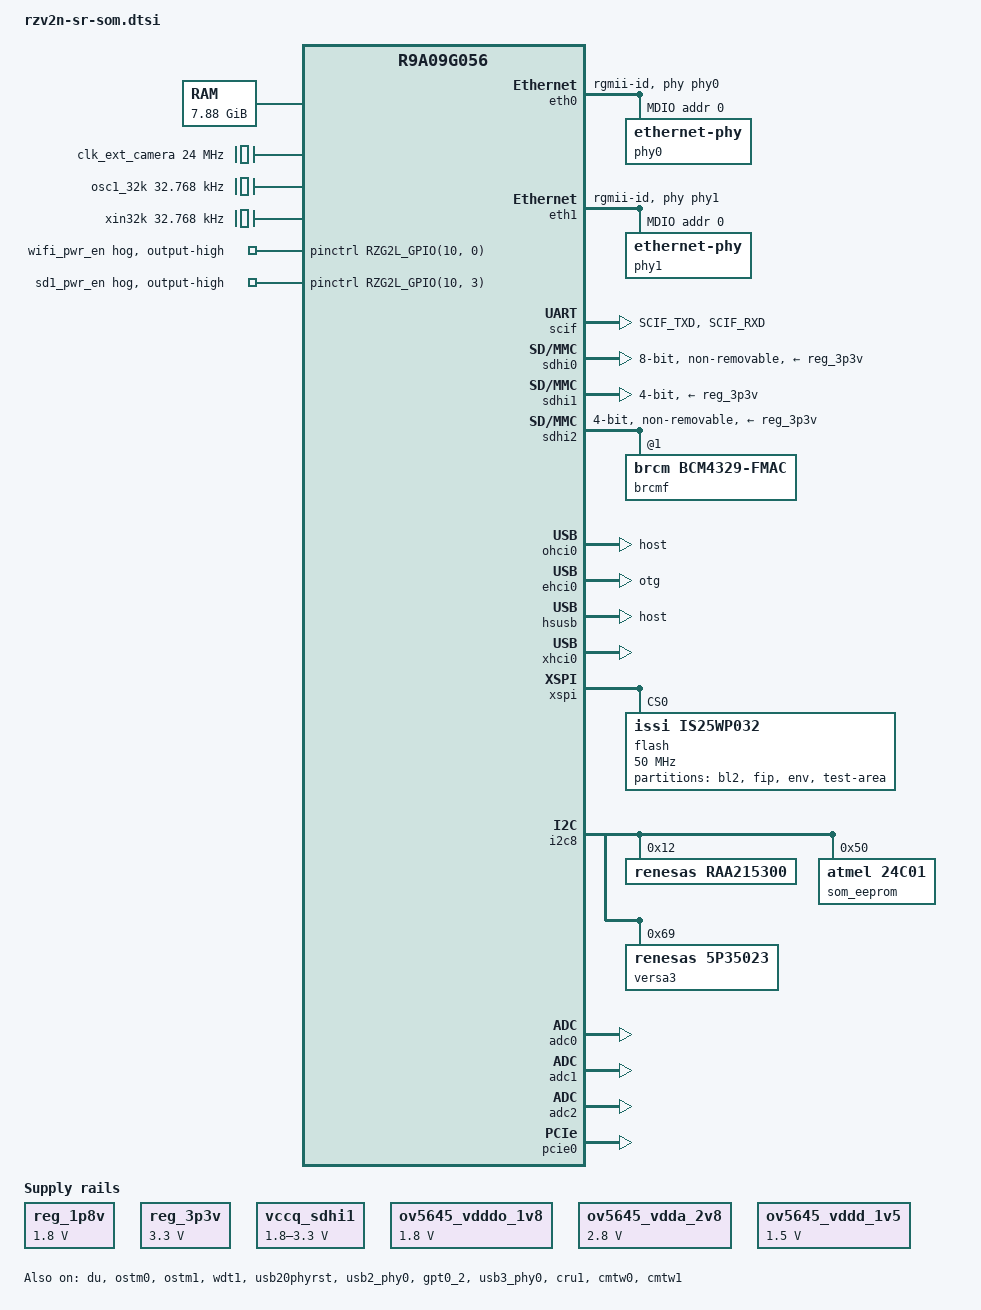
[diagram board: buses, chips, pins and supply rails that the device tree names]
// SPDX-License-Identifier: (GPL-2.0-only OR BSD-2-Clause)
/*
* Device Tree Source for the RZ/V2N Solidrun SOM
*
* Copyright (C) 2025 SolidRun Ltd.
*/

/dts-v1/;
#include "r9a09g056.dtsi"
#include <dt-bindings/net/mxl-8611x.h>
#include <dt-bindings/pinctrl/rzg2l-pinctrl.h>
#include <dt-bindings/gpio/gpio.h>
#include <dt-bindings/input/input.h>
#include <dt-bindings/interrupt-controller/arm-gic.h>
#include <dt-bindings/thermal/thermal.h>

/ {
	aliases {
		i2c0 = &i2c0;
		i2c1 = &i2c1;
		i2c2 = &i2c2;
		i2c8 = &i2c8;
		serial0 = &scif;
		serial1 = &sci0;
		serial2 = &sci2;
		serial3 = &sci3;
		mmc0 = &sdhi0;
		mmc1 = &sdhi1;
		mmc2 = &sdhi2;
		ethernet0 = &eth0;
		ethernet1 = &eth1;
	};

	chosen {
		bootargs = "ignore_loglevel";
		stdout-path = "serial0:115200n8";
	};

	memory@48000000 {
		device_type = "memory";
		/* first 128MB is reserved for secure area. */
		reg = <0x0 0x48000000 0x1 0xF8000000>;
	};

	reserved-memory {
		#address-cells = <2>;
		#size-cells = <2>;
		ranges;

		global_cma: linux,cma@58000000 {
			compatible = "shared-dma-pool";
			linux,cma-default;
			reusable;
			reg = <0x0 0x58000000 0x0 0x28000000>;
		};

		mmp_reserved: linux,multimedia {
			compatible = "shared-dma-pool";
			reusable;
			reg = <0x00000000 0x80000000 0x0 0x10000000>;
		};

		isp_reserved: frame_buffer@90000000 {
			compatible = "shared-dma-pool";
			reusable;
			reg = <0x0 0x90000000 0x0 0x18000000>;
		};

		opencva_reserved: OpenCVA@A8000000 {
			reusable;
			reg = <0x0 0xA8000000 0x0 0x7CFF000>;
		};

		shared_drp_reserved: SharedDRP@AFCFF000 {
			reusable;
			reg = <0x0 0xAFCFF000 0x0 0x00001000>;
		};

		drp_codec: DRP-Codec@AFD00000 {
			reusable;
			reg = <0x0 0xAFD00000 0x0 0x300000>;
		};

		image_buf0: image_buf@B0000000 {
			compatible = "shared-dma-pool";
			reusable;
			reg = <0x0 0xB0000000 0x0 0x4000000>;
			label = "image_buf0";
		};

		cru_func: cru_buffer@B4000000 {
			compatible = "shared-dma-pool";
			reusable;
			reg = <0x0 0xB4000000 0x0 0x16400000>;
		};

		drp_reserved: DRP-AI@D0000000 {
			reusable;
			reg = <0x0 0xD0000000 0x0 0x20000000>;
		};
	};

	mmngr {
		compatible = "renesas,mmngr";
		memory-region = <&mmp_reserved>;
	};

	mmngrbuf {
		compatible = "renesas,mmngrbuf";
	};

	vspm_if {
		compatible = "renesas,vspm_if";
	};

	x1_clk: x1-clock {
			compatible = "fixed-clock";
			#clock-cells = <0>;
			clock-frequency = <24000000>;
	};

	reg_1p8v: regulator0 {
		compatible = "regulator-fixed";

		regulator-name = "fixed-1.8V";
		regulator-min-microvolt = <1800000>;
		regulator-max-microvolt = <1800000>;
		regulator-boot-on;
		regulator-always-on;
	};

	reg_3p3v: regulator1 {
		compatible = "regulator-fixed";

		regulator-name = "fixed-3.3V";
		regulator-min-microvolt = <3300000>;
		regulator-max-microvolt = <3300000>;
		regulator-boot-on;
		regulator-always-on;
	};

	vccq_sdhi1: regulator-vccq-sdhi1 {
		compatible = "regulator-gpio";
		regulator-name = "SDHI1 VccQ";
		regulator-min-microvolt = <1800000>;
		regulator-max-microvolt = <3300000>;
		gpios = <&pinctrl RZG2L_GPIO(10, 2) GPIO_ACTIVE_HIGH>;
		gpios-states = <1>;
		states = <3300000 0 1800000 1>;
	};

	clk_ext_camera: clk_ext_camera {
		compatible = "fixed-clock";
		#clock-cells = <0>;
		clock-frequency = <24000000>;
	};

	ov5645_vdddo_1v8: 1p8v {
		compatible = "regulator-fixed";
		regulator-name = "camera_vdddo";
		regulator-min-microvolt = <1800000>;
		regulator-max-microvolt = <1800000>;
		regulator-always-on;
	};

	ov5645_vdda_2v8: 2p8v {
		compatible = "regulator-fixed";
		regulator-name = "camera_vdda";
		regulator-min-microvolt = <2800000>;
		regulator-max-microvolt = <2800000>;
		regulator-always-on;
	};

	ov5645_vddd_1v5: 1p5v {
		compatible = "regulator-fixed";
		regulator-name = "camera_vddd";
		regulator-min-microvolt = <1500000>;
		regulator-max-microvolt = <1500000>;
		regulator-always-on;
	};

	osc1_32k: cec-clock {
		compatible = "fixed-clock";
		#clock-cells = <0>;
		clock-frequency = <32768>; /* 32.768 kHz */
	};

	sdio_pwrseq: sdio-pwrseq {
		compatible = "mmc-pwrseq-simple";
		// reset-gpios = <&pinctrl RZG2L_GPIO(10, 0) GPIO_ACTIVE_HIGH>;
        /* TODO: Replace current GPIO hog with proper reset-gpios assignment
         * for the SDIO power sequence. Using the GPIO hog is temporary and
         * should be updated for proper reset control integration.
         */
	};

	/* 32.768kHz crystal */
	xin32k: xin32k-clock {
		compatible = "fixed-clock";
		#clock-cells = <0>;
		clock-frequency = <32768>;
	};
};

&du {
	status = "okay";
};

&eth0 {
	phy-handle = <&phy0>;
	phy-mode = "rgmii-id";
	status = "okay";

	mdio {
		#address-cells = <1>;
		#size-cells = <0>;
		phy0: ethernet-phy@0 {
			reg = <0>;
			mxl-8611x,led0_cfg = <(
			MXL8611X_LEDX_CFG_LINK_UP_TX_ACT_ON |
			MXL8611X_LEDX_CFG_LINK_UP_RX_ACT_ON |
			MXL8611X_LEDX_CFG_LINK_UP_1GB_ON |
			MXL8611X_LEDX_CFG_LINK_UP_100MB_ON |
			MXL8611X_LEDX_CFG_LINK_UP_10MB_ON
			)>;
			mxl-8611x,rx-internal-delay-ps = <0>;
			mxl-8611x,tx-internal-delay-ps-100m = <2250>;
			mxl-8611x,tx-internal-delay-ps-1g = <300>;
		};
	};
};

&eth1 {
	phy-handle = <&phy1>;
	phy-mode = "rgmii-id";
	status = "okay";

	mdio {
		#address-cells = <1>;
		#size-cells = <0>;
		phy1: ethernet-phy@0 {
			reg = <0>;
			mxl-8611x,led0_cfg = <(
			MXL8611X_LEDX_CFG_LINK_UP_TX_ACT_ON |
			MXL8611X_LEDX_CFG_LINK_UP_RX_ACT_ON |
			MXL8611X_LEDX_CFG_LINK_UP_1GB_ON |
			MXL8611X_LEDX_CFG_LINK_UP_100MB_ON |
			MXL8611X_LEDX_CFG_LINK_UP_10MB_ON
			)>;
			mxl-8611x,rx-internal-delay-ps = <0>;
			mxl-8611x,tx-internal-delay-ps-100m = <2250>;
			mxl-8611x,tx-internal-delay-ps-1g = <300>;
		};
	};
};

&audio_clka {
	clock-frequency = <22579200>;
};

&audio_clkb {
	clock-frequency = <24576000>;
};

&audio_clkc {
	clock-frequency = <22579200>;
};

&pinctrl {
	scif0_pins: scif0 {
		pins =  "SCIF_TXD", "SCIF_RXD";
		renesas,output-impedance = <1>;
	};

#if 0
	bt_reg_en {
		gpio-hog;
		gpios = <RZG2L_GPIO(10, 1) GPIO_ACTIVE_HIGH>;
		output-high;
		line-name = "bt_reg_on";
	};
#endif

#if 1
	wifi_pwr_en {
		gpio-hog;
		gpios = <RZG2L_GPIO(10, 0) GPIO_ACTIVE_HIGH>;
		output-high;
		line-name = "wifi_pwr_en";
	};
#endif

	sd1_pwr_en {
		gpio-hog;
		gpios = <RZG2L_GPIO(10, 3) GPIO_ACTIVE_HIGH>;
		output-high;
		line-name = "sd1_pwr_en";
	};

	/* Support pinctrl for SD function of SDHI1 */
	sdhi1_pins: sd1 {
		sd1_mux {
			pinmux = <RZG2L_PORT_PINMUX(9, 4, 14)>; /* SD1_CD */
		};
	};

	gpt0_2_pins: gpt0_2 {
		pinmux = <RZG2L_PORT_PINMUX(7, 2, 9)>, /* Channel A */
			 <RZG2L_PORT_PINMUX(7, 3, 9)>; /* Channel B */
	};

	i2c0_pins: i2c0 {
		pinmux = <RZG2L_PORT_PINMUX(3, 0, 1)>, /* I2C0_SDA */
			 <RZG2L_PORT_PINMUX(3, 1, 1)>; /* I2C0_SCL */
	};

	i2c1_pins: i2c1 {
		pinmux = <RZG2L_PORT_PINMUX(3, 2, 1)>, /* I2C1_SDA */
			 <RZG2L_PORT_PINMUX(3, 3, 1)>; /* I2C1_SCL */
	};

	i2c2_pins: i2c2 {
		pinmux = <RZG2L_PORT_PINMUX(2, 0, 4)>, /* I2C2_SDA */
			 <RZG2L_PORT_PINMUX(2, 1, 4)>; /* I2C2_SCL */
	};

	i2c8_pins: i2c8 {
			pinmux = <RZG2L_PORT_PINMUX(0, 6, 1)>, /* I2C8_SDA */
					<RZG2L_PORT_PINMUX(0, 7, 1)>; /* I2C8_SCL */
	};

	sci0_pins: sci0 {
			pinmux = <RZG2L_PORT_PINMUX(5, 0, 1)>, /* UART0_TXD: SCI0_TXD_MOSI_SDA */
				<RZG2L_PORT_PINMUX(5, 1, 1)>; /* UART0_RXD: SCI0_RXD_MISO_SCL */
			bias-pull-up;
		};

	sci0_pins_cts_rts: sci0_cts_rtc {
		pinmux =  <RZG2L_PORT_PINMUX(5, 2, 4)>,  /* UART0_CTS: CTS0N  */
				<RZG2L_PORT_PINMUX(5, 3, 2)>; /* UART0_RTS:  SS0_CTS0N_RTS0N */
		bias-pull-up;
	};

	sci2_pins: sci2 {
		pinmux = <RZG2L_PORT_PINMUX(5, 4, 1)>, /* TXD2_MOSI2_SDA2 */
			<RZG2L_PORT_PINMUX(5, 5, 1)>; /* RXD2_MISO2_SCL2 */
		bias-pull-up;
	};

	sci2_pins_cts_rts: sci2_cts_rtc {
		pinmux =  <RZG2L_PORT_PINMUX(5, 6, 4)>,  /* UART2_CTS: CTS2N  */
				<RZG2L_PORT_PINMUX(5, 7, 2)>; /* UART2_RTS:  SS2_CTS2N_RTS2N */
		bias-pull-up;
	};

	sci3_pins: sci3 {
		pinmux = <RZG2L_PORT_PINMUX(3, 4, 2)>, /* TXD3_MOSI3_SDA3 */
			<RZG2L_PORT_PINMUX(3, 5, 2)>; /* RXD3_MISO3_SCL3 */
		bias-pull-up;
	};

	sci3_pins_cts_rts: sci3_cts_rtc {
		pinmux =  <RZG2L_PORT_PINMUX(3, 6, 4)>,  /* UART3_CTS: CTS3N  */
				<RZG2L_PORT_PINMUX(3, 7, 2)>; /* UART3_RTS:  SS3_CTS3N_RTS3N */
		bias-pull-up;
	};

	sdhi2_pins: sd2 {
		sd2_data {
			pinmux = <RZG2L_PORT_PINMUX(11, 1, 1)>, /* SD2_DATA0 */
				 <RZG2L_PORT_PINMUX(11, 2, 1)>, /* SD2_DATA1 */
				 <RZG2L_PORT_PINMUX(11, 3, 1)>, /* SD2_DATA2 */
				 <RZG2L_PORT_PINMUX(11, 4, 1)>; /* SD2_DATA3 */
		};

		sd2_ctrl {
			pinmux = <RZG2L_PORT_PINMUX(11, 0, 1)>, /* SD2_CLK */
				 <RZG2L_PORT_PINMUX(11, 5, 1)>; /* SD2_CMD */
		};
	};
};

&qextal_clk {
	clock-frequency = <24000000>;
};

&scif {
	pinctrl-0 = <&scif0_pins>;
	pinctrl-names = "default";
	status = "okay";
};

&ostm0 {
	status = "okay";
};

&ostm1 {
	status = "okay";
};

&wdt1 {
	status = "okay";
};

&sdhi0 {
	vmmc-supply = <&reg_3p3v>;
	vqmmc-supply = <&reg_1p8v>;
	bus-width = <8>;
	mmc-hs200-1_8v;
	non-removable;
	fixed-emmc-driver-type = <1>;
	status = "okay";
};

&sdhi1 {
	pinctrl-0 = <&sdhi1_pins>;
	pinctrl-names = "default";
	vmmc-supply = <&reg_3p3v>;
	vqmmc-supply = <&vccq_sdhi1>;
	bus-width = <4>;
	sd-uhs-sdr50;
	sd-uhs-sdr104;
	status = "okay";
};

/* WiFi - CYW43439 */
&sdhi2 {
	#address-cells = <1>;
	#size-cells = <0>;
	pinctrl-0 = <&sdhi2_pins>;
	pinctrl-names = "default";
	status = "okay";

	non-removable;
	vmmc-supply = <&reg_3p3v>;
	bus-width = <4>;
	mmc-pwrseq = <&sdio_pwrseq>;
	fsl,delay-line = <12>;
	keep-power-in-suspend;

	brcmf: wifi@1 {
		reg = <1>;
		compatible = "brcm,bcm4329-fmac";
	};
};

&rtc {
    status = "disabled";
};

&ohci0 {
	memory-region = <&global_cma>;
	dr_mode = "host";
	status = "okay";
};

&ehci0 {
	memory-region = <&global_cma>;
	dr_mode = "otg";
	status = "okay";
};

&hsusb {
	dr_mode = "host";
	status = "okay";
};

&usb20phyrst {
	status = "okay";
};

&usb2_phy0 {
	//pinctrl-0 = <&usb20_pins>;
	pinctrl-names = "default";
	status = "okay";
};

&gpt0_2 {
	pinctrl-0 = <&gpt0_2_pins>;
	pinctrl-names = "default";
	channel = "both_AB";
	status = "okay";
};

&usb3_phy0 {
	status = "okay";
};

&xhci0 {
	//pinctrl-0 = <&usb30_pins>; /*conflict with WiFi SD2CLK*/
	pinctrl-names = "default";
	memory-region = <&global_cma>;
	status = "okay";
};

&xspi {
	status = "okay";

	flash@0 {
		compatible = "issi,is25wp032", "jedec,spi-nor";
		reg = <0>;
		m25p,fast-read;
		spi-max-frequency = <50000000>;
		spi-tx-bus-width = <4>;
		spi-rx-bus-width = <4>;

		partitions {
			compatible = "fixed-partitions";
			#address-cells = <1>;
			#size-cells = <1>;

			partition@0 {
				label = "bl2";
				reg = <0x00000000 0x0001D200>;
				read-only;
			};

			partition@1D200 {
				label = "fip";
				reg = <0x0001D200 0x001C2E00>;
				read-only;
			};

			partition@1E0000 {
				label = "env";
				reg = <0x001E0000 0x00020000>;
				read-only;
			};

			partition@200000 {
				label = "test-area";
				reg = <0x00200000 0x00E00000>;
			};
		};
	};
};

&i2c0 {
	pinctrl-0 = <&i2c0_pins>;
	pinctrl-names = "default";
	status = "disabled";
};

&cru0 {
	status = "disabled";
};

&csi20 {
	status = "disabled";
};

&i2c1 {
	pinctrl-0 = <&i2c1_pins>;
	pinctrl-names = "default";
	status = "disabled";
};

&cru1 {
	status = "okay";
};

&csi21 {
	status = "disabled";
};

&i2c2 {
	pinctrl-0 = <&i2c2_pins>;
	pinctrl-names = "default";

	status = "disabled";
};

&i2c8 {
	pinctrl-0 = <&i2c8_pins>;
	pinctrl-names = "default";

	status = "okay";

	/* PMIC */
	raa215300: pmic@12 {
		compatible = "renesas,raa215300";
		reg = <0x12>, <0x6f>;
		reg-names = "main", "rtc";

		clocks = <&xin32k>;
		clock-names = "xin";
	};

	som_eeprom: eeprom@50 {
		compatible = "atmel,24c01";
		reg = <0x50>;
		pagesize = <8>;           /* CAT24AA01 uses 8-byte page */
		size = <128>;             /* 1 Kbit = 128 bytes */
		address-width = <8>;      /* 8-bit internal addressing */
	};

	/* Clock Generator (P.N 5L35023B-616NLGI8)*/
	versa3: versa3@69 {
			compatible = "renesas,5p35023";
			reg = <0x69>;
			#clock-cells = <1>;
			clocks = <&x1_clk>;
			clock-names = "x1";
			assigned-clocks = <&versa3 5>,
								<&versa3 4>,
								<&versa3 3>,
								<&versa3 2>,
								<&versa3 1>,
								<&versa3 0>;
			assigned-clock-rates =  <100000000>, <100000000>,
									<22579200>, <32768>,
									<24576000>, <24000000>;
			clock-divider-read-only = <1>, <1>, <1>, <1>, <1>;
			clock-flags = <2176>, <2176>, <2176>, <2052>, <2176>, <2048>;
	};
};

&adc0 {
	status = "okay";
};

&adc1 {
	status = "okay";
};

&adc2 {
	status = "okay";
};

&cmtw0 {
	status = "okay";
};

&cmtw1 {
	status = "okay";
};

&ssi4 {
	shared-pin;
};

&pcie0 {
	/* Map all possible DDR as inbound ranges */
	dma-ranges = <0x42000000 0 0x40000000 0 0x40000000 0x2 0x00000000>;
	//clocks = <&versa3 4>;      /* use DIFF1 as input */
    clock-names = "pcie_ref";
	msi-parent = <&gic>;
	status = "okay";
};

/* Bluetooth node */
&sci0 {
	pinctrl-0 = <&sci0_pins &sci0_pins_cts_rts>;
	pinctrl-names = "default";
	uart-has-rtscts;
	status = "disabled";

	bluetooth: bt@0 {
		compatible = "brcm,bcm4345c5";
		max-speed = <3000000>;
		brcm,firmware-name = "BCM4345C0.renesas,rzv2n-sr-som.hcd";
		shutdown-gpios = <&pinctrl RZG2L_GPIO(10, 1) GPIO_ACTIVE_HIGH>;
	};
};

/* UART2 */
&sci2 {
	pinctrl-0 = <&sci2_pins &sci2_pins_cts_rts>;
	pinctrl-names = "default";
	uart-has-rtscts;
	status = "disabled";
};

/* UART3 */
&sci3 {
	pinctrl-0 = <&sci3_pins &sci3_pins_cts_rts>;
	pinctrl-names = "default";
	uart-has-rtscts;
	status = "disabled";
};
